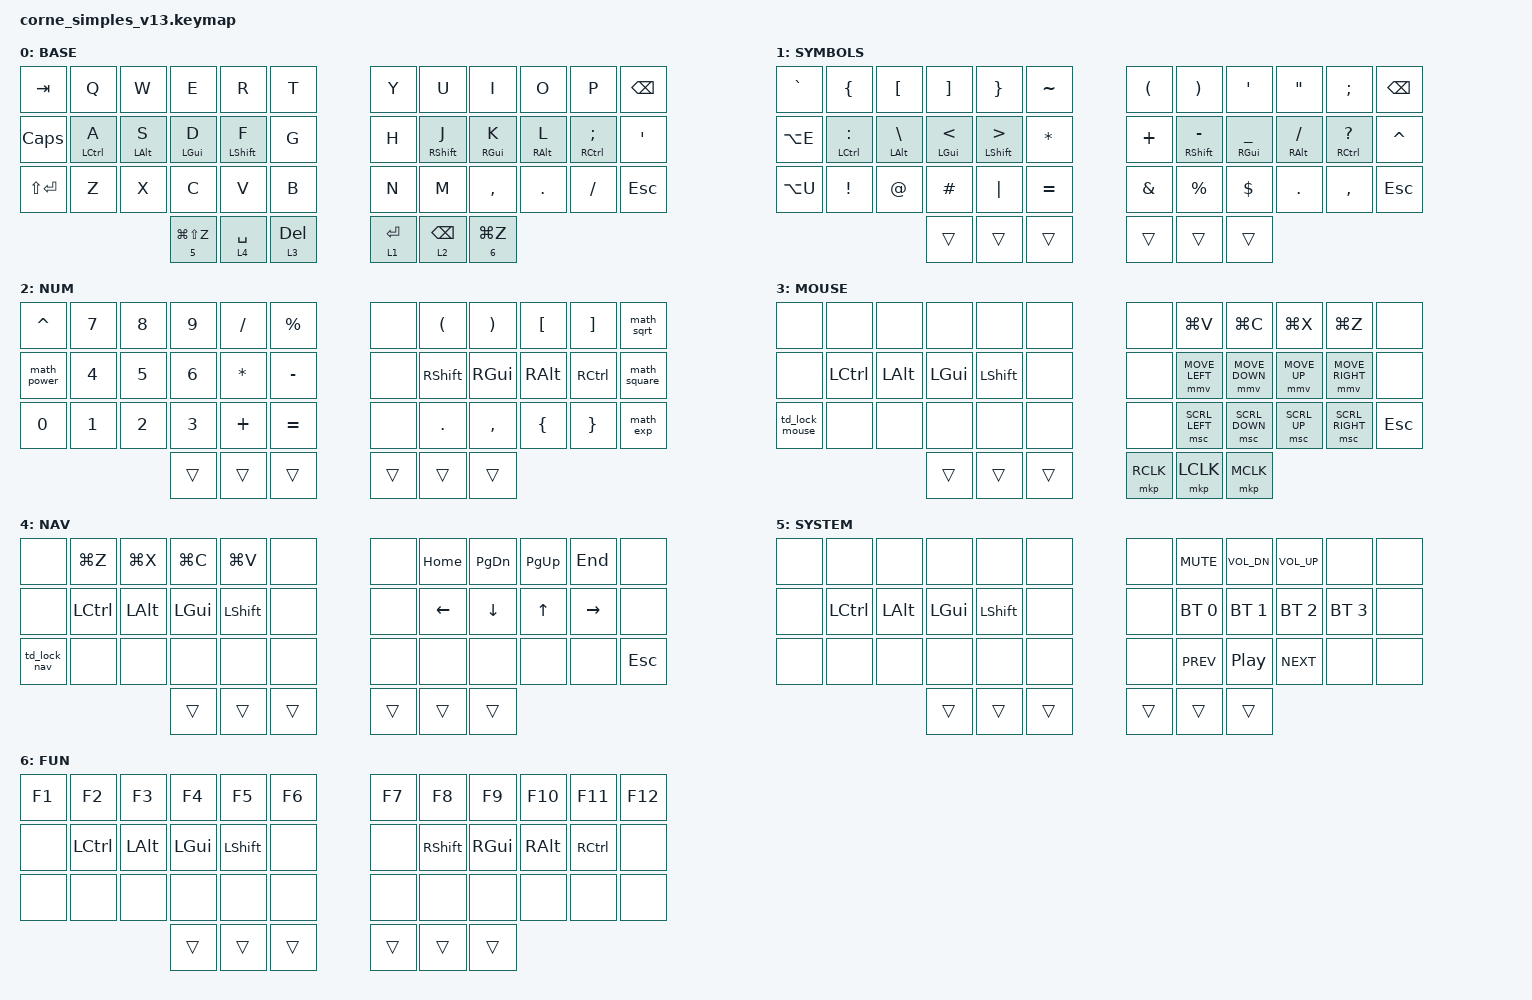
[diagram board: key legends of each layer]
/*
 * CORNE 42 (ZMK) — PERFIL: Corne Simples v13 (revisão 13)
 * Hash canônico do dataset: cab6ba746107d9ee15f98cfd10614c09f5ecede9815913ced756316a2e405bd3
 * Versão: v06_consolidada | Arquivo: keymap_data_v06.json
 * Camadas: L0 a L6 (7 camadas / 294 posições) | Gerador: ksm-work/generators/generate_corne_candidato.py --profile simple
 */

#include <behaviors.dtsi>
#include <dt-bindings/zmk/keys.h>
#include <dt-bindings/zmk/bt.h>
#include <dt-bindings/zmk/outputs.h>
#include <dt-bindings/zmk/pointing.h>

/* Keep the standard LT timing. Only its hold delegate is lock-aware. */
&lt { bindings = <&fp_mo>, <&kp>; };

/ {
    behaviors {
        fp_mo: fp_layer_hold { compatible = "fp,behavior-layer-hold"; #binding-cells = <1>; display-name = "FP Layer Hold"; };
        fp_lock: fp_layer_lock { compatible = "fp,behavior-layer-lock"; #binding-cells = <1>; display-name = "FP Layer Lock"; };
        /* HRM Left (GACS) */
        hrm_l: home_row_mods_left {
            compatible = "zmk,behavior-hold-tap";
            #binding-cells = <2>;
            flavor = "balanced";
            tapping-term-ms = <280>;
            quick-tap-ms = <175>;
            require-prior-idle-ms = <150>;
            hold-trigger-key-positions = <6 7 8 9 10 11 18 19 20 21 22 23 30 31 32 33 34 35 39 40 41>;
            hold-trigger-on-release;
            bindings = <&kp &kp>;
            display-name = "HRM Left (GACS)";
        };

        /* HRM Right (GACS) */
        hrm_r: home_row_mods_right {
            compatible = "zmk,behavior-hold-tap";
            #binding-cells = <2>;
            flavor = "balanced";
            tapping-term-ms = <280>;
            quick-tap-ms = <175>;
            require-prior-idle-ms = <150>;
            hold-trigger-key-positions = <0 1 2 3 4 5 12 13 14 15 16 17 24 25 26 27 28 29 36 37 38>;
            hold-trigger-on-release;
            bindings = <&kp &kp>;
            display-name = "HRM Right (GACS)";
        };

        /* Undo FUN (Dedão 41) */
        ht_undo_fun: thumb_undo_fun {
            compatible = "zmk,behavior-hold-tap";
            #binding-cells = <2>;
            flavor = "balanced";
            tapping-term-ms = <200>;
            quick-tap-ms = <175>;
            bindings = <&fp_mo &kp>;
            display-name = "Undo FUN (Dedão 41)";
        };

        /* Símbolo no toque / modificador ao segurar */
        hrm_sym_l: home_row_mods_symbols_left {
            compatible = "zmk,behavior-hold-tap";
            #binding-cells = <2>;
            flavor = "balanced";
            tapping-term-ms = <280>;
            quick-tap-ms = <175>;
            require-prior-idle-ms = <150>;
            bindings = <&kp &kp>;
            display-name = "Símbolo no toque / modificador ao segurar";
        };

        /* Símbolo no toque / modificador direito ao segurar */
        hrm_sym_r: home_row_mods_symbols_right {
            compatible = "zmk,behavior-hold-tap";
            #binding-cells = <2>;
            flavor = "balanced";
            tapping-term-ms = <280>;
            quick-tap-ms = <175>;
            require-prior-idle-ms = <150>;
            bindings = <&kp &kp>;
            display-name = "Símbolo no toque / modificador direito ao segurar";
        };

        /* Refazer SYSTEM (Dedão 36) */
        ht_redo_system: thumb_redo_system {
            compatible = "zmk,behavior-hold-tap";
            #binding-cells = <2>;
            flavor = "balanced";
            tapping-term-ms = <200>;
            quick-tap-ms = <175>;
            bindings = <&fp_mo &kp>;
            display-name = "Refazer SYSTEM (Dedão 36)";
        };

        td_lock_mouse: tap_dance_lock_mouse {
            compatible = "zmk,behavior-tap-dance";
            #binding-cells = <0>;
            display-name = "Lock MOUSE (2 taps)";
            tapping-term-ms = <200>;
            bindings = <&none>, <&fp_lock 3>;
        };
        td_lock_nav: tap_dance_lock_nav {
            compatible = "zmk,behavior-tap-dance";
            #binding-cells = <0>;
            display-name = "Lock NAV (2 taps)";
            tapping-term-ms = <200>;
            bindings = <&none>, <&fp_lock 4>;
        };
    };

    macros {
        math_power: math_power {
            compatible = "zmk,behavior-macro";
            #binding-cells = <0>;
            wait-ms = <10>;
            tap-ms = <10>;
            display-name = "**";
            bindings = <&macro_tap &kp ASTRK &kp ASTRK>;
        };
        math_square: math_square {
            compatible = "zmk,behavior-macro";
            #binding-cells = <0>;
            wait-ms = <10>;
            tap-ms = <10>;
            display-name = "**2";
            bindings = <&macro_tap &kp ASTRK &kp ASTRK &kp N2>;
        };
        math_sqrt: math_sqrt {
            compatible = "zmk,behavior-macro";
            #binding-cells = <0>;
            wait-ms = <10>;
            tap-ms = <10>;
            display-name = "sqrt()";
            bindings = <&macro_tap &kp S &kp Q &kp R &kp T &kp LPAR &kp RPAR &kp LEFT>;
        };
        math_exp: math_exp {
            compatible = "zmk,behavior-macro";
            #binding-cells = <0>;
            wait-ms = <10>;
            tap-ms = <10>;
            display-name = "exp()";
            bindings = <&macro_tap &kp E &kp X &kp P &kp LPAR &kp RPAR &kp LEFT>;
        };
    };

    /* KEYMAP CANÔNICO CORNE SIMPLES: 42 teclas × 7 camadas (294 posições) */
    keymap {
        compatible = "zmk,keymap";

        /* L0: BASE */
        base_layer {
            display-name = "BASE";
            bindings = <
                &kp TAB          &kp Q            &kp W            &kp E            &kp R            &kp T    &kp Y            &kp U            &kp I            &kp O            &kp P            &kp BSPC
                &kp CAPS         &hrm_l LCTRL A   &hrm_l LALT S    &hrm_l LGUI D    &hrm_l LSHFT F   &kp G    &kp H            &hrm_r RSHFT J   &hrm_r RGUI K    &hrm_r RALT L    &hrm_r RCTRL SEMI &kp SQT
                &kp LS(RET)      &kp Z            &kp X            &kp C            &kp V            &kp B    &kp N            &kp M            &kp COMMA        &kp DOT          &kp FSLH         &kp ESC
                          &ht_redo_system 5 LG(LS(Z)) &lt 4 SPACE      &lt 3 DEL    &lt 1 RET        &lt 2 BSPC       &ht_undo_fun 6 LG(Z)
            >;
        };

        /* L1: SYMBOLS */
        symbols_layer {
            display-name = "SYMBOLS";
            bindings = <
                &kp GRAVE        &kp LBRC         &kp LBKT         &kp RBKT         &kp RBRC         &kp TILDE    &kp LPAR         &kp RPAR         &kp SQT          &kp DQT          &kp SEMI         &kp BSPC
                &kp LA(E)        &hrm_sym_l LCTRL COLON &hrm_sym_l LALT BSLH &hrm_sym_l LGUI LT &hrm_sym_l LSHFT GT &kp ASTRK    &kp PLUS         &hrm_sym_r RSHFT MINUS &hrm_sym_r RGUI UNDER &hrm_sym_r RALT FSLH &hrm_sym_r RCTRL QMARK &kp CARET
                &kp LA(U)        &kp EXCL         &kp AT           &kp HASH         &kp PIPE         &kp EQUAL    &kp AMPS         &kp PRCNT        &kp DLLR         &kp DOT          &kp COMMA        &kp ESC
                          &trans           &trans           &trans    &trans           &trans           &trans
            >;
        };

        /* L2: NUM */
        num_layer {
            display-name = "NUM";
            bindings = <
                &kp CARET        &kp N7           &kp N8           &kp N9           &kp FSLH         &kp PRCNT    &none            &kp LPAR         &kp RPAR         &kp LBKT         &kp RBKT         &math_sqrt
                &math_power      &kp N4           &kp N5           &kp N6           &kp ASTRK        &kp MINUS    &none            &kp RSHFT        &kp RGUI         &kp RALT         &kp RCTRL        &math_square
                &kp N0           &kp N1           &kp N2           &kp N3           &kp PLUS         &kp EQUAL    &none            &kp DOT          &kp COMMA        &kp LBRC         &kp RBRC         &math_exp
                          &trans           &trans           &trans    &trans           &trans           &trans
            >;
        };

        /* L3: MOUSE */
        mouse_layer {
            display-name = "MOUSE";
            bindings = <
                &none            &none            &none            &none            &none            &none    &none            &kp LG(V)        &kp LG(C)        &kp LG(X)        &kp LG(Z)        &none
                &none            &kp LCTRL        &kp LALT         &kp LGUI         &kp LSHFT        &none    &none            &mmv MOVE_LEFT   &mmv MOVE_DOWN   &mmv MOVE_UP     &mmv MOVE_RIGHT  &none
                &td_lock_mouse   &none            &none            &none            &none            &none    &none            &msc SCRL_LEFT   &msc SCRL_DOWN   &msc SCRL_UP     &msc SCRL_RIGHT  &kp ESC
                          &trans           &trans           &trans    &mkp RCLK        &mkp LCLK        &mkp MCLK
            >;
        };

        /* L4: NAV */
        nav_layer {
            display-name = "NAV";
            bindings = <
                &none            &kp LG(Z)        &kp LG(X)        &kp LG(C)        &kp LG(V)        &none    &none            &kp HOME         &kp PG_DN        &kp PG_UP        &kp END          &none
                &none            &kp LCTRL        &kp LALT         &kp LGUI         &kp LSHFT        &none    &none            &kp LEFT         &kp DOWN         &kp UP           &kp RIGHT        &none
                &td_lock_nav     &none            &none            &none            &none            &none    &none            &none            &none            &none            &none            &kp ESC
                          &trans           &trans           &trans    &trans           &trans           &trans
            >;
        };

        /* L5: SYSTEM */
        system_layer {
            display-name = "SYSTEM";
            bindings = <
                &none            &none            &none            &none            &none            &none    &none            &kp C_MUTE       &kp C_VOL_DN     &kp C_VOL_UP     &none            &none
                &none            &kp LCTRL        &kp LALT         &kp LGUI         &kp LSHFT        &none    &none            &bt BT_SEL 0     &bt BT_SEL 1     &bt BT_SEL 2     &bt BT_SEL 3     &none
                &none            &none            &none            &none            &none            &none    &none            &kp C_PREV       &kp C_PLAY_PAUSE &kp C_NEXT       &none            &none
                          &trans           &trans           &trans    &trans           &trans           &trans
            >;
        };

        /* L6: FUN */
        fun_layer {
            display-name = "FUN";
            bindings = <
                &kp F1           &kp F2           &kp F3           &kp F4           &kp F5           &kp F6    &kp F7           &kp F8           &kp F9           &kp F10          &kp F11          &kp F12
                &none            &kp LCTRL        &kp LALT         &kp LGUI         &kp LSHFT        &none    &none            &kp RSHFT        &kp RGUI         &kp RALT         &kp RCTRL        &none
                &none            &none            &none            &none            &none            &none    &none            &none            &none            &none            &none            &none
                          &trans           &trans           &trans    &trans           &trans           &trans
            >;
        };

    };
};
